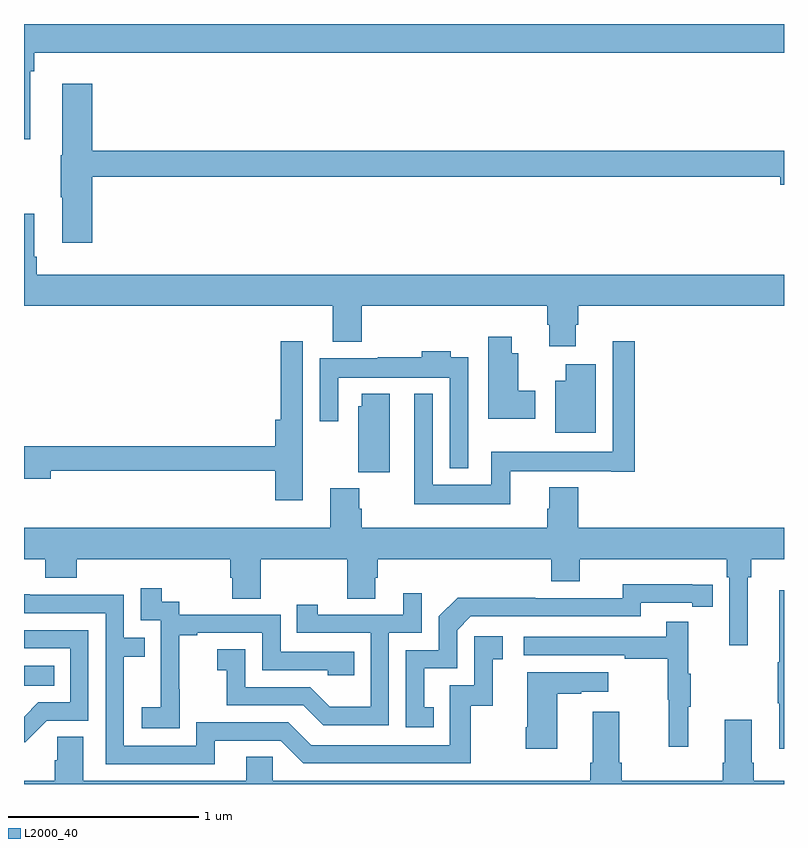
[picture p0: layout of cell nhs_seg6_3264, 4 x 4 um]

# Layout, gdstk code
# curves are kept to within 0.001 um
import gdstk
lib = gdstk.Library(unit=1e-6, precision=1e-09)
def R(c, l, rs):  # rectangles x0, y0, x1, y1
    for r in rs: c.add(gdstk.rectangle(r[:2], r[2:], *l))
def P(c, l, *ps):  # polygons
    for p in ps: c.add(gdstk.Polygon(p, *l))
L2000_40 = (2000, 40)

nhs_seg6_3264 = lib.new_cell('nhs_seg6_3264')
R(nhs_seg6_3264, L2000_40, [(303,932.018,303.158,932.122)])
P(nhs_seg6_3264, L2000_40, [(307,935.5),(303,935.5),(303,934.893),(303.034,934.893),(303.034,935.252),(303.053,935.252),(303.053,935.348),(307,935.348)],
  [(303.359,934.696),(306.98,934.696),(306.98,934.654),(307,934.654),(307,934.832),(303.359,934.832),(303.359,935.185),(303.2,935.185),(303.2,934.809),(303.193,934.809),(303.193,934.588),(303.2,934.588),(303.2,934.35),(303.359,934.35)],
  [(305.905,933.918),(305.918,933.918),(305.918,934.016),(307,934.016),(307,934.18),(303.068,934.18),(303.068,934.276),(303.055,934.276),(303.055,934.501),(303,934.501),(303,934.016),(304.625,934.016),(304.625,933.827),(304.778,933.827),(304.778,934.016),(305.753,934.016),(305.753,933.918),(305.765,933.918),(305.765,933.804),(305.905,933.804)],
  [(305.692,933.57),(305.602,933.57),(305.602,933.766),(305.566,933.766),(305.566,933.853),(305.444,933.853),(305.444,933.422),(305.692,933.422)],
  [(304.468,933.255),(304.467,933.255),(304.467,933.829),(304.351,933.829),(304.351,933.418),(304.322,933.418),(304.322,933.278),(303,933.278),(303,933.107),(303.142,933.107),(303.142,933.15),(304.322,933.15),(304.322,932.994),(304.468,932.994)],
  [(305.558,933.146),(306.092,933.146),(306.092,933.144),(306.215,933.144),(306.215,933.829),(306.099,933.829),(306.099,933.25),(305.46,933.25),(305.46,933.076),(305.151,933.076),(305.151,933.553),(305.054,933.553),(305.054,932.972),(305.558,932.972)],
  [(305.337,933.745),(305.245,933.745),(305.245,933.778),(305.093,933.778),(305.093,933.745),(304.861,933.745),(304.861,933.742),(304.557,933.742),(304.557,933.408),(304.653,933.408),(304.653,933.638),(305.241,933.638),(305.241,933.161),(305.337,933.161)],
  [(306.01,933.709),(305.852,933.709),(305.852,933.622),(305.795,933.622),(305.795,933.35),(306.01,933.35)],
  [(304.924,933.553),(304.778,933.553),(304.778,933.489),(304.76,933.489),(304.76,933.142),(304.924,933.142)],
  [(304.765,932.948),(304.765,933.057),(304.613,933.057),(304.613,932.848),(303,932.848),(303,932.684),(303.113,932.684),(303.113,932.585),(303.278,932.585),(303.278,932.684),(304.085,932.684),(304.085,932.586),(304.097,932.586),(304.097,932.476),(304.245,932.476),(304.245,932.684),(304.702,932.684),(304.702,932.476),(304.849,932.476),(304.849,932.586),(304.862,932.586),(304.862,932.684),(305.774,932.684),(305.774,932.567),(305.926,932.567),(305.926,932.684),(306.698,932.684),(306.698,932.588),(306.711,932.588),(306.711,932.229),(306.808,932.229),(306.808,932.588),(306.827,932.588),(306.827,932.684),(307,932.684),(307,932.848),(305.918,932.848),(305.918,933.061),(305.765,933.061),(305.765,932.949),(305.753,932.949),(305.753,932.848),(304.778,932.848),(304.778,932.948)],
  [(305.156,931.905),(305.107,931.905),(305.107,932.109),(305.28,932.109),(305.28,932.31),(305.352,932.382),(306.246,932.382),(306.246,932.454),(306.518,932.454),(306.518,932.434),(306.626,932.434),(306.626,932.55),(306.15,932.551),(306.15,932.478),(305.69,932.478),(305.69,932.48),(305.282,932.48),(305.184,932.382),(305.184,932.205),(305.01,932.205),(305.01,931.8),(305.156,931.8)],
  [(303.819,931.999),(303.818,931.999),(303.818,932.283),(303.913,932.283),(303.913,932.295),(304.254,932.295),(304.254,932.1),(304.599,932.1),(304.599,932.073),(304.739,932.073),(304.739,932.196),(304.35,932.196),(304.35,932.391),(303.816,932.391),(303.816,932.46),(303.724,932.46),(303.724,932.53),(303.615,932.53),(303.615,932.361),(303.72,932.361),(303.72,932.132),(303.719,932.132),(303.719,931.903),(303.621,931.903),(303.621,931.793),(303.819,931.793)],
  [(307,932.521),(306.974,932.521),(306.974,932.141),(306.967,932.141),(306.967,931.924),(306.974,931.924),(306.974,931.686),(307,931.686)],
  [(304.92,932.295),(305.094,932.295),(305.094,932.503),(304.997,932.503),(304.997,932.391),(304.546,932.391),(304.546,932.443),(304.435,932.443),(304.435,932.295),(304.824,932.295),(304.824,931.906),(304.61,931.906),(304.506,932.01),(304.164,932.01),(304.164,932.209),(304.017,932.209),(304.017,932.099),(304.066,932.099),(304.066,931.914),(304.469,931.914),(304.574,931.809),(304.92,931.809)],
  [(304.003,931.728),(304.35,931.728),(304.47,931.608),(305.35,931.608),(305.35,931.911),(305.468,931.911),(305.468,932.157),(305.521,932.157),(305.521,932.278),(305.37,932.278),(305.37,932.019),(305.241,932.019),(305.241,931.704),(304.512,931.704),(304.392,931.824),(303.906,931.824),(303.906,931.701),(303.525,931.701),(303.525,932.17),(303.635,932.17),(303.635,932.271),(303.525,932.271),(303.525,932.496),(303.029,932.496),(303.029,932.498),(303,932.498),(303,932.4),(303.429,932.4),(303.429,931.605),(304.003,931.605)],
  [(306.497,931.907),(306.508,931.907),(306.508,932.081),(306.497,932.081),(306.497,932.353),(306.379,932.353),(306.379,932.274),(305.631,932.274),(305.631,932.178),(306.163,932.178),(306.163,932.158),(306.387,932.158),(306.387,931.944),(306.394,931.944),(306.394,931.695),(306.497,931.695)],
  [(303.12,931.833),(303.339,931.833),(303.339,932.31),(303,932.31),(303,932.214),(303.243,932.214),(303.243,931.929),(303.074,931.929),(303,931.855),(303,931.721),(303.007,931.721)],
  [(305.806,931.975),(305.933,931.975),(305.933,931.985),(306.076,931.985),(306.076,932.089),(305.648,932.089),(305.648,931.798),(305.641,931.798),(305.641,931.686),(305.806,931.686)],
  [(306.689,931.837),(306.689,931.612),(306.677,931.612),(306.677,931.516),(306.146,931.516),(306.146,931.612),(306.133,931.612),(306.133,931.879),(305.993,931.879),(305.993,931.612),(305.981,931.612),(305.981,931.516),(304.308,931.516),(304.308,931.643),(304.169,931.643),(304.169,931.516),(303.313,931.516),(303.313,931.748),(303.174,931.748),(303.174,931.625),(303.161,931.625),(303.161,931.516),(303,931.516),(303,931.5),(307,931.5),(307,931.516),(306.842,931.516),(306.842,931.612),(306.829,931.612),(306.829,931.837)])

lib.write_gds('nhs_seg6_3264.gds')
